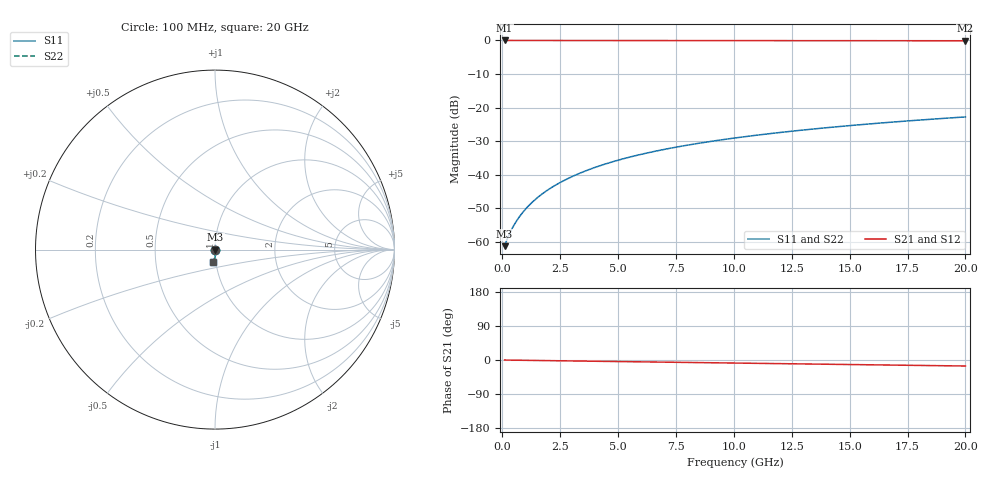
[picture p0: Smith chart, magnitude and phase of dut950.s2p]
! Touchstone file exported from HFSS 2026.1.0
!  File:  C:/ffzhzh/LocalFiles/Ansys_Project_Files/temp_train_BSMRDL_950_1783172220_18472.aedt
!  Generated:  09:38:06 PM Jul  4, 2026
!  Design:  BSMRDL
!  Project:  temp_train_BSMRDL_950_1783172220_18472
! Variables:
!  h_bsmrdl = 5.87um
!  h_ox = 20um
!  h_rdl = 5um
!  h_sub = 80um
!  h_tmrdl = 5um
!  h_tsv = 80um
!  h_via = 3um
!  l_bsmrdl = 269.37um
!  l_sub = 669.37um
!  l_tmrdl = 200um
!  m_sub = 200um
!  pitch = 29.23um
!  r_tsv = 6um
!  s_tmrdl = 10um
!  w_bsmrdl = 26.16um
!  w_sub = 500um
!  w_tmrdl = 12um
!  x_tsv_center1 = 206um
!  x_tsv_center2 = 501.53um
!  x_tsv_center3 = 713.53um
!  x_tsv_center4 = 1009.06um
!  x_tsv_center5 = 1221.06um
!  x_tsv_center6 = 1516.59um
# GHz S MA R 50.000000
! Terminal data exported
! Port[1] = BSM_RDL1_1_T1
! Port[2] = BSM_RDL1_1_T2
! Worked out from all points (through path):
!   200 points, 100 MHz to 20 GHz, reference 50 ohm
!   highest |S21| = -0.01 dB at 100 MHz (marker M1); lowest = -0.1 dB at 20 GHz (marker M2)
!   group delay of S21, straight-line fit = 2.19 ps
!   lowest |S11| = -61.3 dB at 100 MHz (marker M3), VSWR 1.00, Z = 50.1 - j0.00156 ohm
!   |S11| at or under -10 dB: start of sweep to end of sweep
!   |S22| runs from -61.3 to -22.8 dB; largest |S21 - S12| = 4.1e-15
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0.1  0.0008561 -1.0  0.9991 -0.1  0.9991 -0.1  0.0008561 -1.0
! Gamma 0 0 0 0
! Port Impedance 50 0 50 0
0.2  0.001069 -10.5  0.9989 -0.2  0.9989 -0.2  0.001069 -10.5
0.3  0.001291 -21.6  0.9988 -0.3  0.9988 -0.3  0.001291 -21.6
0.4  0.001517 -31.1  0.9987 -0.4  0.9987 -0.4  0.001517 -31.1
0.6  0.001995 -44.7  0.9986 -0.5  0.9986 -0.5  0.001995 -44.7
0.9  0.002774 -56.3  0.9984 -0.8  0.9984 -0.8  0.002774 -56.3
1.1  0.003324 -61.0  0.9983 -0.9  0.9983 -0.9  0.003324 -61.0
1.3  0.003893 -64.3  0.9982 -1.1  0.9982 -1.1  0.003893 -64.3
1.8  0.005386 -69.4  0.9979 -1.5  0.9979 -1.5  0.005386 -69.4
2.3  0.006963 -72.3  0.9976 -1.9  0.9976 -1.9  0.006963 -72.3
2.9  0.008948 -74.7  0.9972 -2.4  0.9972 -2.4  0.008948 -74.7
3.5  0.01101 -76.6  0.9968 -2.9  0.9968 -2.9  0.01101 -76.6
4.2  0.01349 -78.4  0.9964 -3.5  0.9964 -3.5  0.01349 -78.4
5  0.01638 -80.1  0.9959 -4.1  0.9959 -4.1  0.01638 -80.2
5.9  0.01968 -81.9  0.9954 -4.8  0.9954 -4.8  0.01968 -81.9
6.8  0.02301 -83.5  0.9949 -5.5  0.9949 -5.5  0.02301 -83.5
8.3  0.0286 -85.9  0.9942 -6.7  0.9942 -6.7  0.0286 -85.9
10.1  0.03533 -88.3  0.9933 -8.1  0.9933 -8.1  0.03533 -88.3
11.7  0.04133 -90.3  0.9926 -9.4  0.9926 -9.4  0.04132 -90.3
13.4  0.04771 -92.2  0.9918 -10.7  0.9918 -10.7  0.0477 -92.2
16.7  0.06007 -95.7  0.9901 -13.3  0.9901 -13.3  0.06007 -95.7
20  0.07237 -98.9  0.9884 -15.9  0.9884 -15.9  0.07236 -98.9
